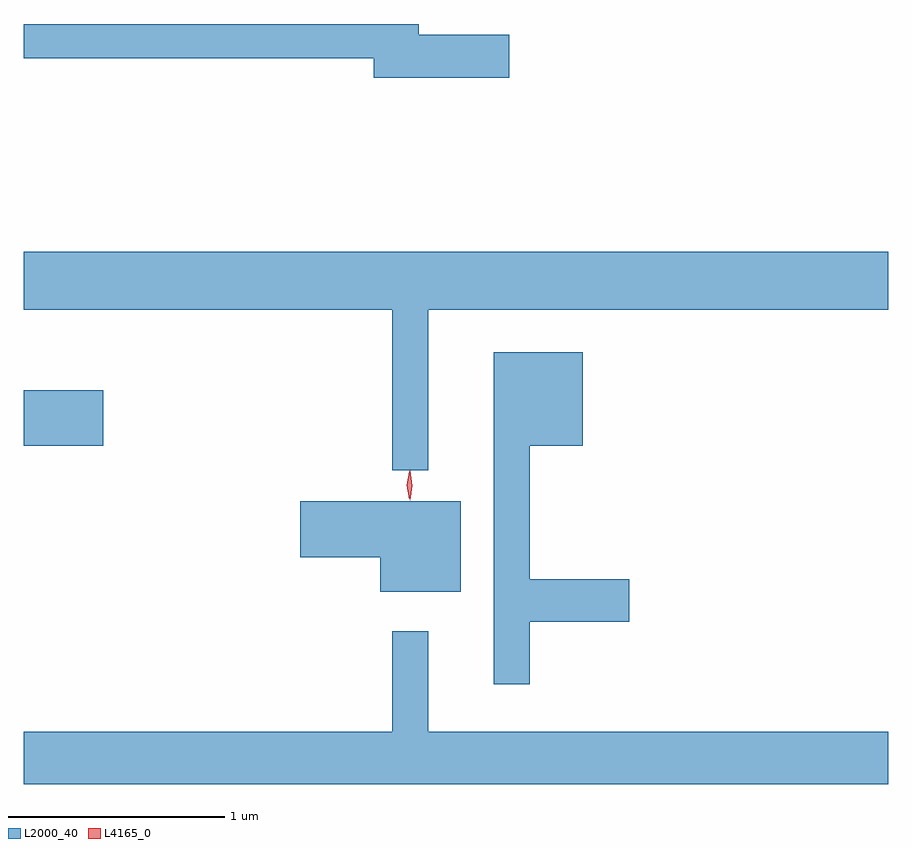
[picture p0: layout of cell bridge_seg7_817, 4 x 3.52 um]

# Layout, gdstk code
import gdstk
lib = gdstk.Library(unit=1e-6, precision=1e-09)
def R(c, l, rs):  # rectangles x0, y0, x1, y1
    for r in rs: c.add(gdstk.rectangle(r[:2], r[2:], *l))
def P(c, l, *ps):  # polygons
    for p in ps: c.add(gdstk.Polygon(p, *l))
L2000_40 = (2000, 40)
L4165_0 = (4165, 0)

bridge_seg7_817 = lib.new_cell('bridge_seg7_817')
R(bridge_seg7_817, L2000_40, [(284.317,1775.846,284.684,1776.104)])
P(bridge_seg7_817, L2000_40, [(286.564,1777.749),(286.144,1777.749),(286.144,1777.799),(284.317,1777.799),(284.317,1777.641),(285.936,1777.641),(285.936,1777.551),(286.564,1777.551)],
  [(286.189,1776.476),(288.317,1776.476),(288.317,1776.744),(284.317,1776.744),(284.317,1776.476),(286.021,1776.476),(286.021,1775.733),(286.189,1775.733)],
  [(286.659,1775.031),(287.119,1775.031),(287.119,1775.229),(286.659,1775.229),(286.659,1775.846),(286.904,1775.846),(286.904,1776.279),(286.491,1776.279),(286.491,1774.743),(286.659,1774.743)],
  [(286.339,1775.589),(285.596,1775.589),(285.596,1775.331),(285.966,1775.331),(285.966,1775.171),(286.339,1775.171)],
  [(288.317,1774.524),(286.189,1774.524),(286.189,1774.988),(286.021,1774.988),(286.021,1774.524),(284.317,1774.524),(284.317,1774.281),(288.317,1774.281)])
P(bridge_seg7_817, L4165_0, [(286.105,1775.594),(286.096,1775.662),(286.104,1775.73),(286.105,1775.73),(286.106,1775.73),(286.115,1775.662),(286.106,1775.594),(286.106,1775.594)],
  [(286.1,1775.6),(286.1,1775.6),(286.09,1775.664),(286.1,1775.727),(286.1,1775.727),(286.101,1775.727),(286.11,1775.664),(286.101,1775.6)])

lib.write_gds('bridge_seg7_817.gds')
